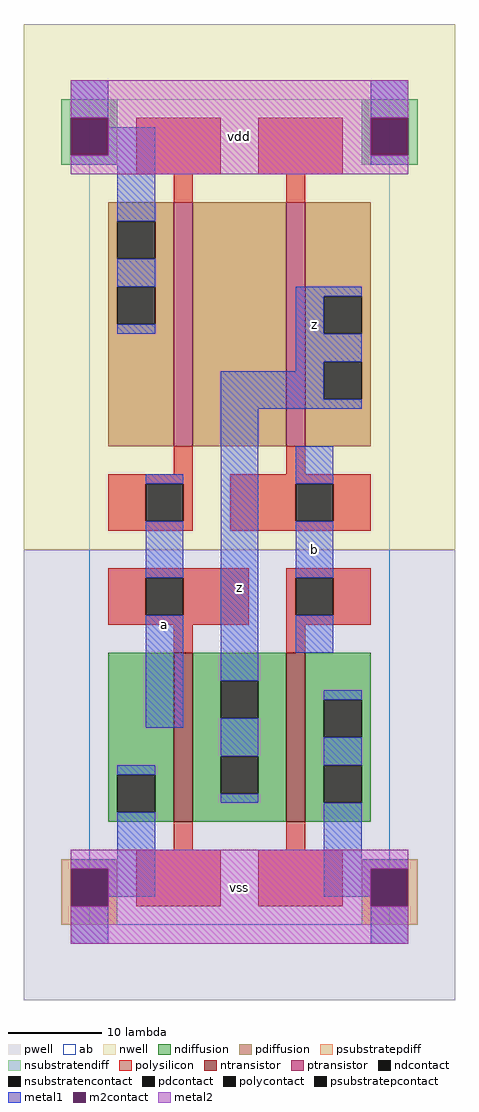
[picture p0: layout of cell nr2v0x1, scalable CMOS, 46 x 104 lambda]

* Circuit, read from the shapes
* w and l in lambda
.subckt nr2v0x1 a b vdd vss z
M1 z a vss vss nfet w=18 l=2
M2 vss b z vss nfet w=18 l=2
M3 n1 a vdd vdd pfet w=26 l=2
M4 z b n1 vdd pfet w=26 l=2
.ends

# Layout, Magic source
magic
tech scmos
<< ab >>
rect 0 0 32 88
<< pwell >>
rect -7 -8 39 40
<< nwell >>
rect -7 40 39 96
<< polysilicon >>
rect 5 80 14 86
rect 18 80 27 86
rect 9 77 11 80
rect 21 77 23 80
rect 9 48 11 51
rect 21 48 23 51
rect 2 47 11 48
rect 2 43 6 47
rect 10 43 11 47
rect 2 42 11 43
rect 15 47 30 48
rect 15 43 22 47
rect 26 43 30 47
rect 15 42 30 43
rect 2 37 17 38
rect 2 33 6 37
rect 10 33 17 37
rect 2 32 17 33
rect 21 37 30 38
rect 21 33 22 37
rect 26 33 30 37
rect 21 32 30 33
rect 9 29 11 32
rect 21 29 23 32
rect 9 8 11 11
rect 21 8 23 11
rect 5 2 14 8
rect 18 2 27 8
<< ndiffusion >>
rect 2 16 9 29
rect 2 12 3 16
rect 7 12 9 16
rect 2 11 9 12
rect 11 26 21 29
rect 11 22 14 26
rect 18 22 21 26
rect 11 18 21 22
rect 11 14 14 18
rect 18 14 21 18
rect 11 11 21 14
rect 23 24 30 29
rect 23 20 25 24
rect 29 20 30 24
rect 23 17 30 20
rect 23 13 25 17
rect 29 13 30 17
rect 23 11 30 13
<< pdiffusion >>
rect 2 75 9 77
rect 2 71 3 75
rect 7 71 9 75
rect 2 68 9 71
rect 2 64 3 68
rect 7 64 9 68
rect 2 51 9 64
rect 11 51 21 77
rect 23 67 30 77
rect 23 63 25 67
rect 29 63 30 67
rect 23 60 30 63
rect 23 56 25 60
rect 29 56 30 60
rect 23 51 30 56
<< metal1 >>
rect -2 86 2 90
rect 30 86 34 90
rect 2 82 7 85
rect -2 81 7 82
rect 30 81 34 82
rect 3 75 7 81
rect 3 68 7 71
rect 3 63 7 64
rect 22 67 29 68
rect 22 63 25 67
rect 22 60 29 63
rect 22 59 25 60
rect 14 56 25 59
rect 14 55 29 56
rect 6 47 10 48
rect 6 37 10 43
rect 6 21 10 33
rect 14 26 18 55
rect 22 47 26 51
rect 22 37 26 43
rect 22 29 26 33
rect 14 18 18 22
rect 3 16 7 17
rect 14 13 18 14
rect 25 24 29 25
rect 25 17 29 20
rect 3 7 7 12
rect -2 6 7 7
rect 2 3 7 6
rect 25 7 29 13
rect 25 6 34 7
rect 25 3 30 6
rect -2 -2 2 2
rect 30 -2 34 2
<< metal2 >>
rect -2 86 34 90
rect 2 82 30 86
rect -2 80 34 82
rect -2 6 34 8
rect 2 2 30 6
rect -2 -2 34 2
<< ntransistor >>
rect 9 11 11 29
rect 21 11 23 29
<< ptransistor >>
rect 9 51 11 77
rect 21 51 23 77
<< polycontact >>
rect 6 43 10 47
rect 22 43 26 47
rect 6 33 10 37
rect 22 33 26 37
<< ndcontact >>
rect 3 12 7 16
rect 14 22 18 26
rect 14 14 18 18
rect 25 20 29 24
rect 25 13 29 17
<< pdcontact >>
rect 3 71 7 75
rect 3 64 7 68
rect 25 63 29 67
rect 25 56 29 60
<< m2contact >>
rect -2 82 2 86
rect 30 82 34 86
rect -2 2 2 6
rect 30 2 34 6
<< psubstratepcontact >>
rect -2 2 2 6
rect 30 2 34 6
<< nsubstratencontact >>
rect -2 82 2 86
rect 30 82 34 86
<< psubstratepdiff >>
rect -3 6 3 7
rect -3 2 -2 6
rect 2 2 3 6
rect 29 6 35 7
rect 29 2 30 6
rect 34 2 35 6
rect -3 0 3 2
rect 29 0 35 2
<< nsubstratendiff >>
rect -3 86 3 88
rect 29 86 35 88
rect -3 82 -2 86
rect 2 82 3 86
rect -3 81 3 82
rect 29 82 30 86
rect 34 82 35 86
rect 29 81 35 82
<< labels >>
rlabel metal1 8 32 8 32 6 a
rlabel metal1 16 36 16 36 6 z
rlabel metal1 24 40 24 40 6 b
rlabel metal1 24 64 24 64 6 z
rlabel metal2 16 4 16 4 6 vss
rlabel metal2 16 84 16 84 6 vdd
<< end >>
